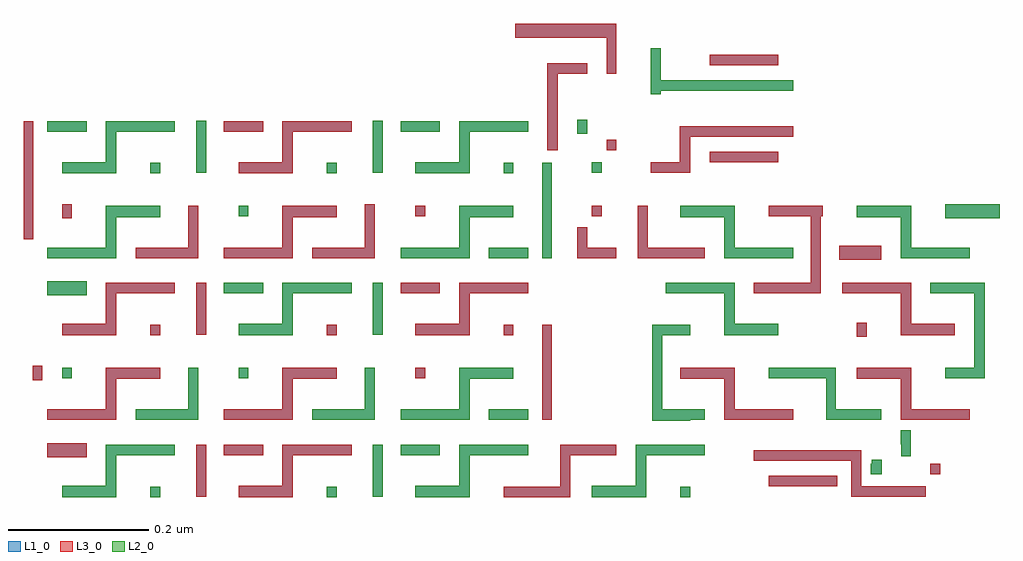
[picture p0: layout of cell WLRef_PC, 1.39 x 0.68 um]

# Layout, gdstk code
from math import pi, radians
import gdstk
lib = gdstk.Library(unit=1e-6, precision=5e-10)
def R(c, l, rs):  # rectangles x0, y0, x1, y1
    for r in rs: c.add(gdstk.rectangle(r[:2], r[2:], *l))
def A(c, l, x, y, w, h, nx, ny, dx, dy):  # array of equal rectangles
    R(c, l, [(x+i*dx, y+j*dy, x+i*dx+w, y+j*dy+h) for i in range(nx) for j in range(ny)])
def P(c, l, *ps):  # polygons
    for p in ps: c.add(gdstk.Polygon(p, *l))
L1_0 = (1, 0)
L2_0 = (2, 0)
L3_0 = (3, 0)

invx4 = lib.new_cell('invx4')
R(invx4, L1_0, [(0.0755,0.0545,0.1735,0.0695), (0.0545,0.091,0.1945,0.106)])
R(invx4, L3_0, [(0.0755,0.0545,0.1735,0.0695)])

inv = lib.new_cell('inv')
R(inv, L1_0, [(0.0695,0.039,0.0835,0.054), (0.0485,0.0985,0.1045,0.1135)])

buffer = lib.new_cell('buffer')
R(buffer, L1_0, [(0.217,0.0435,0.2275,0.053)])
P(buffer, L1_0, [(0.2125,0.114),(0.2125,0.099),(0.167,0.099),(0.167,0.0395),(0.0895,0.0395),(0.0895,0.0555),(0.152,0.0555),(0.152,0.114)])
buffer.add(gdstk.Reference(inv, (0.146,0.0005)))
buffer.add(gdstk.Reference(inv, (0.02,0.0005)))

nor = lib.new_cell('nor')
R(nor, L1_0, [(0.2265,0.04,0.2405,0.055), (0.2475,0.072,0.2615,0.087), (0.2055,0.098,0.2195,0.113)])
R(nor, L3_0, [(0.2475,0.072,0.2615,0.087)])

wlref_pc = lib.new_cell('WLRef_PC')
R(wlref_pc, L1_0, [(0.346,0.04,0.36,0.114), (0.598,0.04,0.612,0.114), (1.037,0.0405,1.049,0.054), (1.2005,0.0565,1.223,0.0675), (0.1335,0.0965,0.1895,0.1165), (0.8395,0.1495,0.8535,0.2855), (0.1125,0.2065,0.1265,0.2265), (1.2885,0.268,1.3025,0.288), (0.346,0.271,0.36,0.3455), (0.598,0.271,0.612,0.3455), (0.1335,0.3275,0.1895,0.3475), (1.2635,0.378,1.3235,0.398), (0.8395,0.3805,0.8535,0.5165), (0.8895,0.3805,0.9035,0.4245), (0.0995,0.4075,0.1135,0.576), (0.1545,0.4375,0.1685,0.4575), (1.4145,0.4375,1.492,0.4575), (0.346,0.502,0.36,0.5765), (0.598,0.502,0.612,0.5765), (1.115,0.5175,1.139,0.5295), (0.8895,0.5575,0.9035,0.5775), (0.158,0.564,0.1695,0.5725), (1.122,0.657,1.139,0.6695)])
P(wlref_pc, L1_0, [(1.471,0.345),(1.471,0.209),(1.4145,0.209),(1.4145,0.224),(1.456,0.224),(1.456,0.33),(1.429,0.33),(1.429,0.345)],
  [(1.3655,0.135),(1.3655,0.098),(1.3515,0.098),(1.3515,0.1145),(1.351,0.1145),(1.351,0.1345),(1.3515,0.1345),(1.3515,0.135)],
  [(1.324,0.093),(1.324,0.072),(1.3085,0.072),(1.3085,0.087),(1.3095,0.087),(1.3095,0.093)],
  [(1.2945,0.1065),(1.2945,0.055),(1.3865,0.055),(1.3865,0.04),(1.2805,0.04),(1.2805,0.0915),(1.2675,0.0915),(1.2675,0.1065)],
  [(1.2395,0.455),(1.2395,0.44),(1.237,0.44),(1.237,0.33),(1.1775,0.33),(1.1775,0.345),(1.223,0.345),(1.223,0.44),(1.1625,0.44),(1.1625,0.455)],
  [(1.2585,0.224),(1.2585,0.1645),(1.2875,0.1645),(1.2875,0.1495),(1.2445,0.1495),(1.2445,0.209),(1.1625,0.209),(1.1625,0.224)],
  [(1.0505,0.2855),(1.0505,0.2705),(1.0105,0.2705),(1.0105,0.1645),(1.0505,0.1645),(1.0505,0.1485),(0.9965,0.1485),(0.9965,0.2855)],
  [(1.0085,0.6795),(1.0085,0.634),(1.074,0.634),(1.074,0.619),(1.0085,0.619),(1.0085,0.6145),(0.9945,0.6145),(0.9945,0.6795)],
  [(1.074,0.5685),(1.074,0.5535),(1.051,0.5535),(1.051,0.502),(0.9945,0.502),(0.9945,0.517),(1.036,0.517),(1.036,0.5685)],
  [(0.99,0.455),(0.99,0.3955),(1.0295,0.3955),(1.0295,0.3805),(0.976,0.3805),(0.976,0.455)],
  [(0.9035,0.6585),(0.9035,0.6435),(0.862,0.6435),(0.862,0.534),(0.847,0.534),(0.847,0.6585)],
  [(0.9455,0.7145),(0.9455,0.6435),(0.9315,0.6435),(0.9315,0.6945),(0.801,0.6945),(0.801,0.7145)],
  [(0.9125,0.114),(0.9125,0.099),(0.8795,0.099),(0.8795,0.0395),(0.7845,0.0395),(0.7845,0.0545),(0.865,0.0545),(0.865,0.114)],
  [(0.6005,0.4575),(0.6005,0.3805),(0.5535,0.3805),(0.5535,0.3955),(0.5865,0.3955),(0.5865,0.4575)],
  [(0.6005,0.224),(0.6005,0.1495),(0.5535,0.1495),(0.5535,0.1645),(0.5865,0.1645),(0.5865,0.224)],
  [(0.3485,0.455),(0.3485,0.3805),(0.3015,0.3805),(0.3015,0.3955),(0.3345,0.3955),(0.3345,0.455)],
  [(0.3485,0.224),(0.3485,0.1495),(0.3015,0.1495),(0.3015,0.1645),(0.3345,0.1645),(0.3345,0.224)])
A(wlref_pc, L2_0, 0.2805, 0.5015, 0.014, 0.015, 3, 1, 0.252, 0)
R(wlref_pc, L2_0, [(0.2805,0.0395,0.2945,0.0545), (0.5325,0.0395,0.5465,0.0545), (1.0365,0.0395,1.0505,0.0545), (0.598,0.04,0.612,0.114), (0.6375,0.099,0.6935,0.114), (0.7635,0.1495,0.8195,0.1645), (0.1545,0.209,0.1685,0.224), (0.4065,0.209,0.4205,0.224), (0.598,0.271,0.612,0.3455), (0.1335,0.3275,0.1895,0.3475), (0.3855,0.33,0.4415,0.345), (0.7635,0.3805,0.8195,0.3955), (0.8395,0.3805,0.8535,0.5165), (1.4145,0.4375,1.492,0.4575), (0.4065,0.44,0.4205,0.455), (0.346,0.502,0.36,0.5765), (0.598,0.502,0.612,0.5765), (0.9105,0.502,0.9245,0.517), (0.8895,0.5575,0.9035,0.5775), (0.1335,0.561,0.1895,0.576), (0.6375,0.561,0.6935,0.576)])
P(wlref_pc, L2_0, [(1.471,0.345),(1.471,0.209),(1.4145,0.209),(1.4145,0.224),(1.456,0.224),(1.456,0.33),(1.3935,0.33),(1.3935,0.345)],
  [(1.3655,0.135),(1.3655,0.098),(1.3515,0.098),(1.3515,0.1145),(1.351,0.1145),(1.351,0.1345),(1.3515,0.1345),(1.3515,0.135)],
  [(1.324,0.093),(1.324,0.072),(1.3085,0.072),(1.3085,0.087),(1.3095,0.087),(1.3095,0.093)],
  [(1.366,0.455),(1.366,0.3955),(1.4495,0.3955),(1.4495,0.3805),(1.351,0.3805),(1.351,0.439),(1.2885,0.439),(1.2885,0.455)],
  [(1.2585,0.224),(1.2585,0.1645),(1.3235,0.1645),(1.3235,0.1495),(1.2445,0.1495),(1.2445,0.209),(1.1625,0.209),(1.1625,0.224)],
  [(1.114,0.455),(1.114,0.3955),(1.1975,0.3955),(1.1975,0.3805),(1.099,0.3805),(1.099,0.439),(1.0365,0.439),(1.0365,0.455)],
  [(1.114,0.345),(1.114,0.2865),(1.1765,0.2865),(1.1765,0.2705),(1.099,0.2705),(1.099,0.33),(1.0155,0.33),(1.0155,0.345)],
  [(1.0505,0.2855),(1.0505,0.2705),(1.0105,0.2705),(1.0105,0.1645),(1.0715,0.1645),(1.0715,0.1495),(1.0505,0.1495),(1.0505,0.1485),(0.9965,0.1485),(0.9965,0.2855)],
  [(1.0085,0.6795),(1.0085,0.634),(1.1975,0.634),(1.1975,0.619),(1.0085,0.619),(1.0085,0.6145),(0.9945,0.6145),(0.9945,0.6795)],
  [(1.0715,0.114),(1.0715,0.099),(0.988,0.099),(0.988,0.0395),(0.9105,0.0395),(0.9105,0.0555),(0.973,0.0555),(0.973,0.114)],
  [(0.8195,0.576),(0.8195,0.561),(0.736,0.561),(0.736,0.5015),(0.6585,0.5015),(0.6585,0.5175),(0.721,0.5175),(0.721,0.576)],
  [(0.8195,0.114),(0.8195,0.099),(0.736,0.099),(0.736,0.0395),(0.6585,0.0395),(0.6585,0.0555),(0.721,0.0555),(0.721,0.114)],
  [(0.7985,0.455),(0.7985,0.439),(0.736,0.439),(0.736,0.3805),(0.6375,0.3805),(0.6375,0.3955),(0.721,0.3955),(0.721,0.455)],
  [(0.7985,0.224),(0.7985,0.208),(0.736,0.208),(0.736,0.1495),(0.6375,0.1495),(0.6375,0.1645),(0.721,0.1645),(0.721,0.224)],
  [(0.6005,0.224),(0.6005,0.1495),(0.5115,0.1495),(0.5115,0.1645),(0.5865,0.1645),(0.5865,0.224)],
  [(0.5675,0.345),(0.5675,0.33),(0.484,0.33),(0.484,0.2705),(0.4065,0.2705),(0.4065,0.2865),(0.469,0.2865),(0.469,0.345)],
  [(0.3485,0.224),(0.3485,0.1495),(0.2595,0.1495),(0.2595,0.1645),(0.3345,0.1645),(0.3345,0.224)],
  [(0.3155,0.576),(0.3155,0.561),(0.232,0.561),(0.232,0.5015),(0.1545,0.5015),(0.1545,0.5175),(0.217,0.5175),(0.217,0.576)],
  [(0.3155,0.114),(0.3155,0.099),(0.232,0.099),(0.232,0.0395),(0.1545,0.0395),(0.1545,0.0555),(0.217,0.0555),(0.217,0.114)],
  [(0.2945,0.455),(0.2945,0.439),(0.232,0.439),(0.232,0.3805),(0.1335,0.3805),(0.1335,0.3955),(0.217,0.3955),(0.217,0.455)])
A(wlref_pc, L3_0, 0.2805, 0.2705, 0.014, 0.015, 3, 1, 0.252, 0)
R(wlref_pc, L3_0, [(0.346,0.04,0.36,0.114), (0.1335,0.0965,0.1895,0.1165), (0.3855,0.099,0.4415,0.114), (0.8395,0.1495,0.8535,0.2855), (0.1125,0.2065,0.1265,0.2265), (0.6585,0.209,0.6725,0.224), (1.2885,0.268,1.3025,0.288), (0.346,0.271,0.36,0.3455), (0.6375,0.33,0.6935,0.345), (1.2635,0.378,1.3235,0.398), (0.0995,0.4075,0.1135,0.576), (0.1545,0.4375,0.1685,0.4575), (0.6585,0.44,0.6725,0.455), (0.9105,0.44,0.9245,0.455), (0.3855,0.561,0.4415,0.576)])
P(wlref_pc, L3_0, [(1.366,0.224),(1.366,0.1645),(1.4495,0.1645),(1.4495,0.1495),(1.351,0.1495),(1.351,0.208),(1.2885,0.208),(1.2885,0.224)],
  [(1.366,0.345),(1.366,0.2865),(1.4285,0.2865),(1.4285,0.2705),(1.351,0.2705),(1.351,0.33),(1.2675,0.33),(1.2675,0.345)],
  [(1.2395,0.455),(1.2395,0.44),(1.237,0.44),(1.237,0.33),(1.1415,0.33),(1.1415,0.345),(1.223,0.345),(1.223,0.44),(1.1625,0.44),(1.1625,0.455)],
  [(1.2945,0.1065),(1.2945,0.055),(1.3865,0.055),(1.3865,0.04),(1.2805,0.04),(1.2805,0.0915),(1.1415,0.0915),(1.1415,0.1065)],
  [(1.114,0.224),(1.114,0.1645),(1.1975,0.1645),(1.1975,0.1495),(1.099,0.1495),(1.099,0.208),(1.0365,0.208),(1.0365,0.224)],
  [(1.1975,0.5685),(1.1975,0.5535),(1.051,0.5535),(1.051,0.502),(0.9945,0.502),(0.9945,0.517),(1.036,0.517),(1.036,0.5685)],
  [(0.99,0.455),(0.99,0.3955),(1.0715,0.3955),(1.0715,0.3805),(0.976,0.3805),(0.976,0.455)],
  [(0.9035,0.4245),(0.9035,0.3955),(0.9455,0.3955),(0.9455,0.3805),(0.8895,0.3805),(0.8895,0.4245)],
  [(0.9035,0.6585),(0.9035,0.6435),(0.862,0.6435),(0.862,0.534),(0.847,0.534),(0.847,0.6585)],
  [(0.9455,0.7145),(0.9455,0.6435),(0.9315,0.6435),(0.9315,0.6945),(0.801,0.6945),(0.801,0.7145)],
  [(0.9455,0.114),(0.9455,0.099),(0.8795,0.099),(0.8795,0.0395),(0.7845,0.0395),(0.7845,0.0545),(0.865,0.0545),(0.865,0.114)],
  [(0.8195,0.345),(0.8195,0.33),(0.736,0.33),(0.736,0.2705),(0.6585,0.2705),(0.6585,0.2865),(0.721,0.2865),(0.721,0.345)],
  [(0.6005,0.4575),(0.6005,0.3805),(0.5115,0.3805),(0.5115,0.3955),(0.5865,0.3955),(0.5865,0.4575)],
  [(0.5675,0.576),(0.5675,0.561),(0.484,0.561),(0.484,0.5015),(0.4065,0.5015),(0.4065,0.5175),(0.469,0.5175),(0.469,0.576)],
  [(0.5675,0.114),(0.5675,0.099),(0.484,0.099),(0.484,0.0395),(0.4065,0.0395),(0.4065,0.0555),(0.469,0.0555),(0.469,0.114)],
  [(0.5465,0.455),(0.5465,0.439),(0.484,0.439),(0.484,0.3805),(0.3855,0.3805),(0.3855,0.3955),(0.469,0.3955),(0.469,0.455)],
  [(0.5465,0.224),(0.5465,0.208),(0.484,0.208),(0.484,0.1495),(0.3855,0.1495),(0.3855,0.1645),(0.469,0.1645),(0.469,0.224)],
  [(0.3485,0.455),(0.3485,0.3805),(0.2595,0.3805),(0.2595,0.3955),(0.3345,0.3955),(0.3345,0.455)],
  [(0.3155,0.345),(0.3155,0.33),(0.232,0.33),(0.232,0.2705),(0.1545,0.2705),(0.1545,0.2865),(0.217,0.2865),(0.217,0.345)],
  [(0.2945,0.224),(0.2945,0.208),(0.232,0.208),(0.232,0.1495),(0.1335,0.1495),(0.1335,0.1645),(0.217,0.1645),(0.217,0.224)])
wlref_pc.add(gdstk.Reference(invx4, (1.252,0.725), rotation=pi))
wlref_pc.add(gdstk.Reference(invx4, (1.087,0.0005)))
wlref_pc.add(gdstk.Reference(invx4, (1.003,0.4625)))
wlref_pc.add(gdstk.Reference(buffer, (1.199,0.2635), x_reflection=True))
wlref_pc.add(gdstk.Reference(buffer, (1.518,0.231), rotation=pi, x_reflection=True))
wlref_pc.add(gdstk.Reference(buffer, (1.199,0.4945), x_reflection=True))
wlref_pc.add(gdstk.Reference(buffer, (0.821,0)))
wlref_pc.add(gdstk.Reference(buffer, (0.947,0.2635), x_reflection=True))
wlref_pc.add(gdstk.Reference(buffer, (1.266,0.231), rotation=pi, x_reflection=True))
wlref_pc.add(gdstk.Reference(buffer, (0.947,0.4945), x_reflection=True))
wlref_pc.add(gdstk.Reference(buffer, (0.384,0.4945), rotation=pi))
wlref_pc.add(gdstk.Reference(buffer, (0.636,0.4945), rotation=pi))
wlref_pc.add(gdstk.Reference(buffer, (0.888,0.4945), rotation=pi))
wlref_pc.add(gdstk.Reference(buffer, (0.569,0.462)))
wlref_pc.add(gdstk.Reference(buffer, (0.317,0.462)))
wlref_pc.add(gdstk.Reference(buffer, (0.065,0.462)))
wlref_pc.add(gdstk.Reference(buffer, (0.065,0)))
wlref_pc.add(gdstk.Reference(buffer, (0.317,0)))
wlref_pc.add(gdstk.Reference(buffer, (0.569,0)))
wlref_pc.add(gdstk.Reference(buffer, (0.065,0.231)))
wlref_pc.add(gdstk.Reference(buffer, (0.317,0.231)))
wlref_pc.add(gdstk.Reference(buffer, (0.569,0.231)))
wlref_pc.add(gdstk.Reference(buffer, (0.888,0.2635), rotation=pi))
wlref_pc.add(gdstk.Reference(buffer, (0.636,0.2635), rotation=pi))
wlref_pc.add(gdstk.Reference(buffer, (0.384,0.2635), rotation=pi))
wlref_pc.add(gdstk.Reference(inv, (0.994,0.494), rotation=pi))
wlref_pc.add(gdstk.Reference(nor, (1.146,0)))
wlref_pc.add(gdstk.Reference(nor, (0.684,0.462)))

lib.write_gds('WLRef_PC.gds')
